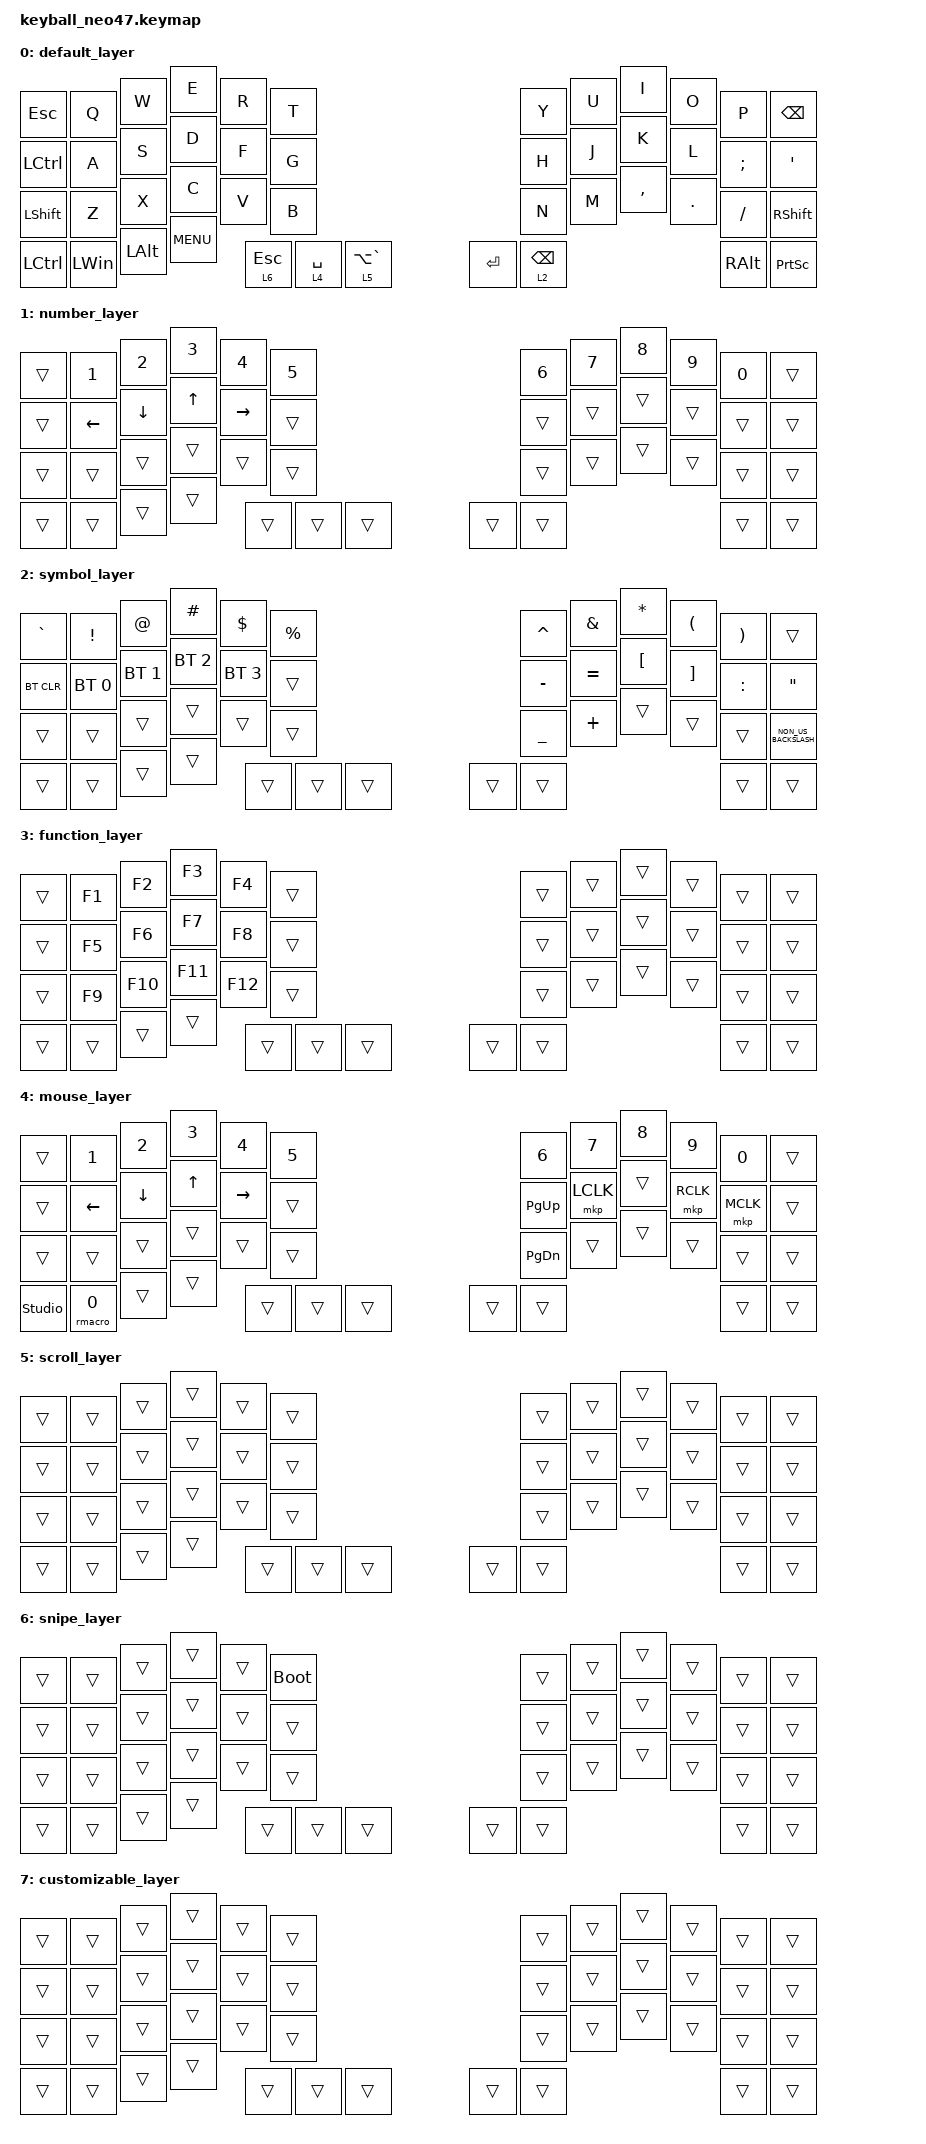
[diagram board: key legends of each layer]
#include <behaviors.dtsi>
#include <behaviors/runtime_macro.dtsi>
#include <dt-bindings/zmk/bt.h>
#include <dt-bindings/zmk/keys.h>
#include <dt-bindings/zmk/pointing.h>
#include <dt-bindings/input/input-event-codes.h>

/ {
    keymap {
        compatible = "zmk,keymap";

        default_layer {
            bindings = <
&kp ESC    &kp Q         &kp W         &kp E       &kp R         &kp T                                    &kp Y            &kp U  &kp I      &kp O    &kp P          &kp BACKSPACE
&kp LCTRL  &kp A         &kp S         &kp D       &kp F         &kp G                                    &kp H            &kp J  &kp K      &kp L    &kp SEMI       &kp APOS
&kp LSHFT  &kp Z         &kp X         &kp C       &kp V         &kp B                                    &kp N            &kp M  &kp COMMA  &kp DOT  &kp FSLH       &kp RSHFT
&kp LCTRL  &kp LEFT_WIN  &kp LEFT_ALT  &kp K_MENU  &lt 6 ESCAPE  &lt 4 SPACE  &lt 5 LA(GRAVE)  &kp ENTER  &lt 2 BACKSPACE                             &kp RIGHT_ALT  &kp PRINTSCREEN
            >;
        };

        number_layer {
            bindings = <
&trans  &kp N1    &kp N2    &kp N3        &kp N4     &kp N5                  &kp N6  &kp N7  &kp N8  &kp N9  &kp N0  &trans
&trans  &kp LEFT  &kp DOWN  &kp UP_ARROW  &kp RIGHT  &trans                  &trans  &trans  &trans  &trans  &trans  &trans
&trans  &trans    &trans    &trans        &trans     &trans                  &trans  &trans  &trans  &trans  &trans  &trans
&trans  &trans    &trans    &trans        &trans     &trans  &trans  &trans  &trans                          &trans  &trans
            >;
        };

        symbol_layer {
            bindings = <
&kp GRAVE   &kp EXCLAMATION  &kp AT_SIGN   &kp HASH      &kp DOLLAR    &kp PERCENT                  &kp CARET       &kp AMPERSAND  &kp ASTERISK      &kp LEFT_PARENTHESIS  &kp RIGHT_PARENTHESIS  &trans
&bt BT_CLR  &bt BT_SEL 0     &bt BT_SEL 1  &bt BT_SEL 2  &bt BT_SEL 3  &trans                       &kp MINUS       &kp EQUAL      &kp LEFT_BRACKET  &kp RIGHT_BRACKET     &kp COLON              &kp DOUBLE_QUOTES
&trans      &trans           &trans        &trans        &trans        &trans                       &kp UNDERSCORE  &kp PLUS       &trans            &trans                &trans                 &kp NON_US_BACKSLASH
&trans      &trans           &trans        &trans        &trans        &trans       &trans  &trans  &trans                                                                 &trans                 &trans
            >;
        };

        function_layer {
            bindings = <
&trans  &kp F1  &kp F2   &kp F3   &kp F4   &trans                  &trans  &trans  &trans  &trans  &trans  &trans
&trans  &kp F5  &kp F6   &kp F7   &kp F8   &trans                  &trans  &trans  &trans  &trans  &trans  &trans
&trans  &kp F9  &kp F10  &kp F11  &kp F12  &trans                  &trans  &trans  &trans  &trans  &trans  &trans
&trans  &trans  &trans   &trans   &trans   &trans  &trans  &trans  &trans                          &trans  &trans
            >;
        };

        mouse_layer {
            bindings = <
&trans  &kp N1    &kp N2    &kp N3  &kp N4     &kp N5                  &kp N6         &kp N7     &kp N8  &kp N9     &kp N0     &trans
&trans  &kp LEFT  &kp DOWN  &kp UP  &kp RIGHT  &trans                  &kp PAGE_UP    &mkp LCLK  &trans  &mkp RCLK  &mkp MCLK  &trans
&trans  &trans    &trans    &trans  &trans     &trans                  &kp PAGE_DOWN  &trans     &trans  &trans     &trans     &trans
&studio_unlock  &rmacro 0  &trans  &trans  &trans   &trans  &trans  &trans  &trans                               &trans     &trans
            >;
        };

        scroll_layer {
            bindings = <
&trans  &trans  &trans  &trans  &trans  &trans                  &trans  &trans  &trans  &trans  &trans  &trans
&trans  &trans  &trans  &trans  &trans  &trans                  &trans  &trans  &trans  &trans  &trans  &trans
&trans  &trans  &trans  &trans  &trans  &trans                  &trans  &trans  &trans  &trans  &trans  &trans
&trans  &trans  &trans  &trans  &trans  &trans  &trans  &trans  &trans                          &trans  &trans
            >;
        };

        snipe_layer {
            bindings = <
&trans  &trans  &trans  &trans  &trans  &bootloader                  &trans  &trans  &trans  &trans  &trans  &trans
&trans  &trans  &trans  &trans  &trans  &trans                       &trans  &trans  &trans  &trans  &trans  &trans
&trans  &trans  &trans  &trans  &trans  &trans                       &trans  &trans  &trans  &trans  &trans  &trans
&trans  &trans  &trans  &trans  &trans  &trans       &trans  &trans  &trans                          &trans  &trans
            >;
        };

        customizable_layer {
            bindings = <
&trans  &trans  &trans  &trans  &trans  &trans                  &trans  &trans  &trans  &trans  &trans  &trans
&trans  &trans  &trans  &trans  &trans  &trans                  &trans  &trans  &trans  &trans  &trans  &trans
&trans  &trans  &trans  &trans  &trans  &trans                  &trans  &trans  &trans  &trans  &trans  &trans
&trans  &trans  &trans  &trans  &trans  &trans  &trans  &trans  &trans                          &trans  &trans
            >;
        };
    };
};

// ---------------------------------------------------------------------------
// Trackball runtime input processors (DYA Studio "Trackball" tab)
//
// The defaults live in <input/processors/runtime-input-processor.dtsi>; only
// the behaviour that is specific to this keymap is set here. Everything else
// (speed, rotation, axis snap, ...) can be changed from DYA Studio and is
// stored in the keyboard's settings.
// ---------------------------------------------------------------------------

&mouse_runtime_input_processor {
    // Auto mouse layer: while the ball is moving the MOUSE layer (4) is held
    // active, so the ball also clicks/scrolls like a mouse without reaching
    // for a layer key first.
    temp-layer-enabled;
    temp-layer = <4>;
    temp-layer-activation-delay-ms = <200>;
    temp-layer-deactivation-delay-ms = <400>;
};

&scroll_runtime_input_processor {
    // Only on the SCROLL layer (5) movement is turned into wheel scrolling.
    active-layers = <BIT(5)>;
    x-codes = <INPUT_REL_X>;
    y-codes = <INPUT_REL_Y>;
    xy-to-scroll-enabled;
    axis-snap-threshold = <100>;
};
